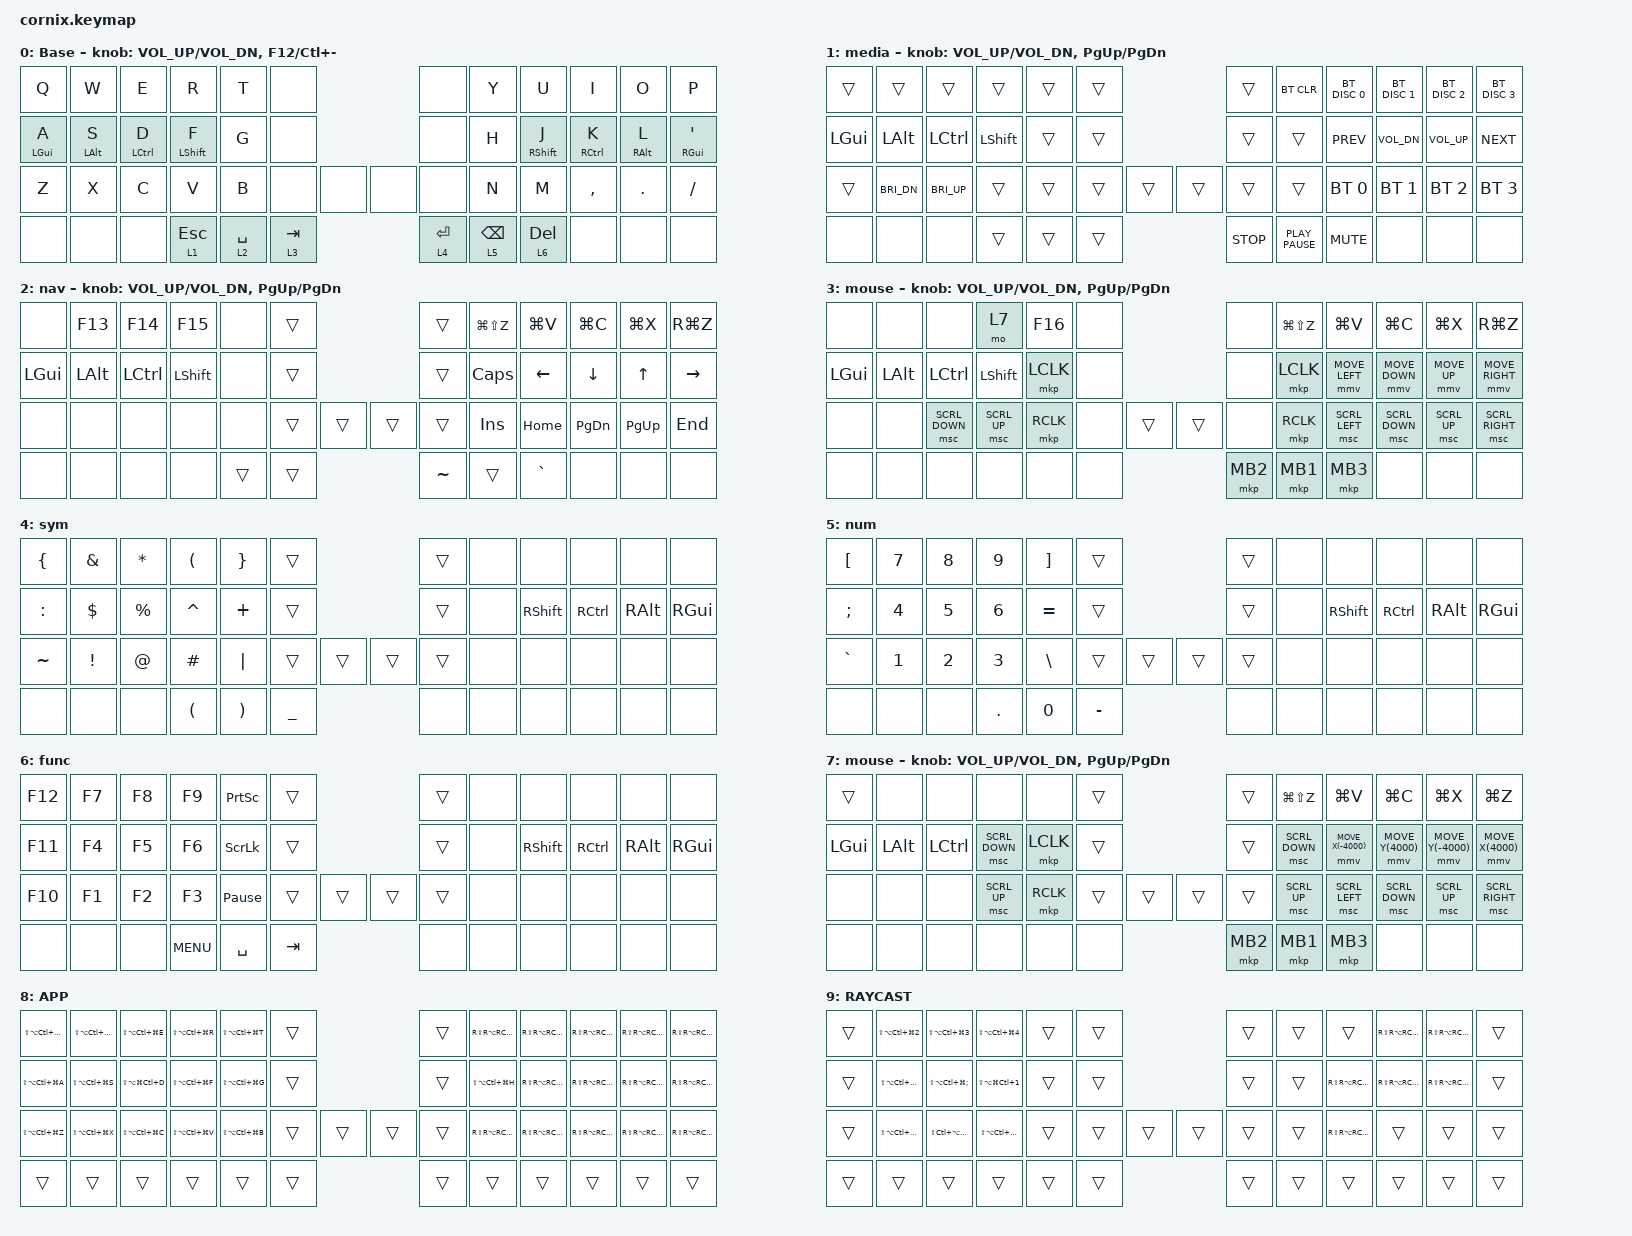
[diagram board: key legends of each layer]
/*
 * Copyright (c) 2020 The ZMK Contributors
 *
 * SPDX-License-Identifier: MIT
 */

#include "zmk-helpers/helper.h"
#include "includes/cornix54.h"

// tap windows for ctl alt and gui

#define HM_TAPPING_TERM 250
#define HM_TAPPING_REPEAT 210

// quick tapping for shift

#define HM_TAPPING_TERM_FAST 200
#define HM_PRIOR_IDLE 70
#define BASE 0
#define WIN 1
#define LOWER 2
#define RAISE 3
#define ADJUST 4
#define NAVI   5
#define NUM    6
#define DEBUG  7

// https://github.com/urob/zmk-config/tree/main#timeless-homerow-mods

#define KEYS_L LT0 LT1 LT2 LT3 LT4 LT5 LM0 LM1 LM2 LM3 LM4 LM5 LB0 LB1 LB2 LB3 LB4 LB5  // left hand
#define KEYS_R RT0 RT1 RT2 RT3 RT4 RT5 RM0 RM1 RM2 RM3 RM4 RM5 RB0 RB1 RB2 RB3 RB4 RB5  // right hand
#define THUMBS LH1 LH0 RH0 RH1
#define KEYS_T LH1 LH0 RH0 RH1
#define ZMK_POINTING_DEFAULT_SCRL_VAL 15

#include <behaviors.dtsi>
#include <dt-bindings/zmk/bt.h>
#include <dt-bindings/zmk/keys.h>
#include <dt-bindings/zmk/pointing.h>

/ {
    // Activate ADJUST layer by pressing raise and lower

    behaviors {
        hm_l: homerow_mods_left {
            compatible = "zmk,behavior-hold-tap";
            #binding-cells = <2>;
            bindings = <&kp>, <&kp>;

            flavor = "balanced";
            tapping-term-ms = <HM_TAPPING_TERM>;
            quick-tap-ms = <200>;                // repeat on tap-into-hold
            require-prior-idle-ms = <HM_PRIOR_IDLE>;
            hold-trigger-key-positions = <KEYS_R KEYS_T>;
            hold-trigger-on-release;
        };

        hm_r: homerow_mods_right {
            compatible = "zmk,behavior-hold-tap";
            #binding-cells = <2>;
            bindings = <&kp>, <&kp>;

            flavor = "balanced";
            tapping-term-ms = <HM_TAPPING_TERM>;
            quick-tap-ms = <200>;
            require-prior-idle-ms = <HM_PRIOR_IDLE>;
            hold-trigger-key-positions = <KEYS_L KEYS_T>;
            hold-trigger-on-release;
        };

        // Positional Homerow mods for shift
        // Use faster tapping term and disable some features that may
        // cause false negatives.

        hm_shift_l: hm_shift_l {
            compatible = "zmk,behavior-hold-tap";
            #binding-cells = <2>;
            bindings = <&kp>, <&kp>;

            //flavor = "balanced";

            flavor = "balanced";
            tapping-term-ms = <HM_TAPPING_TERM_FAST>;
            quick-tap-ms = <200>;
            require-prior-idle-ms = <HM_PRIOR_IDLE>;
            hold-trigger-key-positions = <KEYS_R KEYS_T>;
            hold-trigger-on-release;
        };

        hm_shift_r: hm_shift_r {
            compatible = "zmk,behavior-hold-tap";
            #binding-cells = <2>;
            bindings = <&kp>, <&kp>;

            flavor = "balanced";
            tapping-term-ms = <HM_TAPPING_TERM_FAST>;
            quick-tap-ms = <200>;
            require-prior-idle-ms = <HM_PRIOR_IDLE>;
            hold-trigger-key-positions = <KEYS_L KEYS_T>;

            // for quick tapping; shift+~

            hold-trigger-on-release;
        };

        /*
         * Non-Positional Homerow Mods
         * Used for &mm_grescm_gui behavior on left hand.
         *
         * Usage: &hm LSHFT T
         * Tap: T
         * Tap-Tap-Hold: Repeat T
         * Hold: LSHIFT
         */

        hm: homerow_mods {
            compatible = "zmk,behavior-hold-tap";
            #binding-cells = <2>;
            bindings = <&kp>, <&kp>;

            quick-tap-ms = <100>;
            global-quick-tap;
            flavor = "tap-preferred";
            tapping-term-ms = <170>;
            quick-tap-ms = <200>;
        };

        lt: layer_tap {
            compatible = "zmk,behavior-hold-tap";
            #binding-cells = <2>;
            bindings = <&mo>, <&kp>;

            flavor = "hold-preferred";
            tapping-term-ms = <HM_TAPPING_TERM>;
            quick-tap-ms = <200>;
        };
    };

    conditional_layers { compatible = "zmk,conditional-layers"; };

    combos {
        compatible = "zmk,combos";

        app {
            bindings = <&mo 8>;
            key-positions = <42 43>;
        };

        raycast {
            bindings = <&mo 9>;
            key-positions = <45 44>;
        };
    };

    keymap {
        compatible = "zmk,keymap";

        default_layer {
            display-name = "Base";

            // ------------------------------------------------------------------------------------------------------------
            // |   `   |  1  |  2  |  3   |  4   |  5   |                   |  6   |  7    |  8    |  9   |   0   |       |
            // |  ESC  |  Q  |  W  |  E   |  R   |  T   |                   |  Y   |  U    |  I    |  O   |   P   | BKSPC |
            // |  TAB  |  A  |  S  |  D   |  F   |  G   |                   |  H   |  J    |  K    |  L   |   ;   |   '   |
            // | SHIFT |  Z  |  X  |  C   |  V   |  B   |  MUTE  |  |       |  N   |  M    |  ,    |  .   |   /   | SHIFT |
            //               | GUI | ALT  | CTRL | LOWER|  ENTER |  | SPACE | RAISE| CTRL  | ALT   | GUI  |

            bindings = <
&kp Q             &kp W         &kp E          &kp R          &kp T        &none                    &none        &kp Y            &kp U          &kp I          &kp O         &kp P
&hm_l LEFT_GUI A  &hm_l LALT S  &hm_l LCTRL D  &hm_l LSHFT F  &kp G        &none                    &none        &kp H            &hm_r RSHFT J  &hm_r RCTRL K  &hm_r RALT L  &hm_r RGUI SQT
&kp Z             &kp X         &kp C          &kp V          &kp B        &none      &none  &none  &none        &kp N            &kp M          &kp COMMA      &kp PERIOD    &kp SLASH
&none             &none         &none          &lt 1 ESCAPE   &lt 2 SPACE  &lt 3 TAB                &lt 4 ENTER  &lt 5 BACKSPACE  &lt 6 DELETE   &none          &none         &none
            >;

            sensor-bindings =
                <&inc_dec_kp C_VOL_UP C_VOL_DN>,
                <&inc_dec_kp F12 LC(MINUS)>;
        };

        Media {
            display-name = "media";

            // ------------------------------------------------------------------------------------------------------------
            // |   `   |  1  |  2  |  3   |  4   |  5   |                   |  6   |  7    |  8    |  9   |   0   |       |
            // |  ESC  |  Q  |  W  |  E   |  R   |  T   |                   |  Y   |  U    |  I    |  O   |   P   | BKSPC |
            // |  TAB  |  A  |  S  |  D   |  F   |  G   |                   |  H   |  J    |  K    |  L   |   ;   |   '   |
            // | SHIFT |  Z  |  X  |  C   |  V   |  B   |  MUTE  |  |       |  N   |  M    |  ,    |  .   |   /   | SHIFT |
            //               | GUI | ALT  | CTRL | LOWER|  ENTER |  | SPACE | RAISE| CTRL  | ALT   | GUI  |

            bindings = <
&trans    &trans        &trans        &trans     &trans  &trans                  &trans      &bt BT_CLR        &bt BT_DISC 0  &bt BT_DISC 1  &bt BT_DISC 2  &bt BT_DISC 3
&kp LGUI  &kp LALT      &kp LCTRL     &kp LSHFT  &trans  &trans                  &trans      &trans            &kp K_PREV     &kp C_VOL_DN   &kp C_VOL_UP   &kp K_NEXT
&trans    &kp C_BRI_DN  &kp C_BRI_UP  &trans     &trans  &trans  &trans  &trans  &trans      &trans            &bt BT_SEL 0   &bt BT_SEL 1   &bt BT_SEL 2   &bt BT_SEL 3
&none     &none         &none         &trans     &trans  &trans                  &kp K_STOP  &kp K_PLAY_PAUSE  &kp K_MUTE     &none          &none          &none
            >;

            sensor-bindings = <&inc_dec_kp C_VOL_UP C_VOL_DN &inc_dec_kp PG_UP PG_DN>;
        };

        Nav {
            display-name = "nav";

            // TODO: Some binds are waiting for shifted keycode support.
            // -------------------------------
            // |       |  F1 |  F2 |  F3  |  F4  |  F5  |                   |  F6  |  F7   |  F8   |  F9  |  F10  |  F11  |
            // |   `   |  1  |  2  |  3   |  4   |  5   |                   |  6   |  7    |  8    |  9   |   0   |  F12  |
            // |       |  !  |  @  |  #   |  $   |  %   |                   |  ^   |  &    |  *    |  (   |   )   |   |   |
            // |       |  =  |  -  |  +   |  {   |  }   |        |  |       |  [   |  ]    |  ;    |  :   |   \   |       |
            //               |     |      |      |      |        |  |       |      |       |       |      |

            bindings = <
&none         &kp F13   &kp F14    &kp F15     &none   &trans                  &trans     &kp LG(LS(Z))  &kp LG(V)  &kp LG(C)      &kp LG(X)     &kp RG(Z)
&kp LEFT_GUI  &kp LALT  &kp LCTRL  &kp LSHIFT  &none   &trans                  &trans     &kp CAPS       &kp LEFT   &kp DOWN       &kp UP_ARROW  &kp RIGHT
&none         &none     &none      &none       &none   &trans  &trans  &trans  &trans     &kp INS        &kp HOME   &kp PAGE_DOWN  &kp PAGE_UP   &kp END
&none         &none     &none      &none       &trans  &trans                  &kp TILDE  &trans         &kp GRAVE  &none          &none         &none
            >;

            sensor-bindings = <&inc_dec_kp C_VOL_UP C_VOL_DN &inc_dec_kp PG_UP PG_DN>;
        };

        Mouse {
            display-name = "mouse";

            // ------------------------------------------------------------------------------------------------------------
            // | BTCLR | BT1  | BT2  |  BT3  |  BT4  |  BT5 |                |      |      |       |      |       |       |
            // |       | INS  | PSCR | GUI   |       |      |                | PGUP |      |   ^   |      |       |       |
            // |       | ALT  | CTRL | SHIFT |       | CAPS |                | PGDN |   <- |   v   |  ->  |  DEL  | BKSPC |
            // |       | UNDO | CUT  | COPY  | PASTE |      |      |  |      |      |      |       |      |       |       |
            //                |      |       |       |      |      |  |      |      |      |       |      |

            bindings = <
&none     &none     &none           &mo 7         &kp F16    &none                  &none     &kp LG(LS(Z))  &kp LG(V)       &kp LG(C)       &kp LG(X)     &kp RG(Z)
&kp LGUI  &kp LALT  &kp LCTRL       &kp LSHIFT    &mkp LCLK  &none                  &none     &mkp LCLK      &mmv MOVE_LEFT  &mmv MOVE_DOWN  &mmv MOVE_UP  &mmv MOVE_RIGHT
&none     &none     &msc SCRL_DOWN  &msc SCRL_UP  &mkp RCLK  &none  &trans  &trans  &none     &mkp RCLK      &msc SCRL_LEFT  &msc SCRL_DOWN  &msc SCRL_UP  &msc SCRL_RIGHT
&none     &none     &none           &none         &none      &none                  &mkp MB2  &mkp MB1       &mkp MB3        &none           &none         &none
            >;

            sensor-bindings = <&inc_dec_kp C_VOL_UP C_VOL_DN &inc_dec_kp PG_UP PG_DN>;
        };

        Symbol {
            display-name = "sym";

            // ----------------------------------------------------------------------------------------------------------------------------
            // | BTCLR  |  BT1    |  BT2    |   BT3   |   BT4   |   BT5   |                  |      |      |       |      |       |       |
            // | moDEBUG| RGB_HUD | RGB_HUI | RGB_SAD | RGB_SAI | RGB_EFF |                  |      |      |       |      |       |       |
            // | EXTPWR | RGB_BRD | RGB_BRI |         |         |         |                  |      |      |       |      |       |       |
            // |        |         |         |         |         |         | RGB_TOG | |      |      |      |       |      |       |       |
            //                    |         |         |         |         |         | |      |      |      |       |      |

            bindings = <
&kp LEFT_BRACE  &kp AMPERSAND    &kp ASTERISK  &kp LEFT_PARENTHESIS  &kp RIGHT_BRACE        &trans                          &trans  &none  &none       &none      &none     &none
&kp COLON       &kp DOLLAR       &kp PERCENT   &kp CARET             &kp PLUS               &trans                          &trans  &none  &kp RSHIFT  &kp RCTRL  &kp RALT  &kp RGUI
&kp TILDE       &kp EXCLAMATION  &kp AT_SIGN   &kp HASH              &kp PIPE               &trans          &trans  &trans  &trans  &none  &none       &none      &none     &none
&none           &none            &none         &kp LEFT_PARENTHESIS  &kp RIGHT_PARENTHESIS  &kp UNDERSCORE                  &none   &none  &none       &none      &none     &none
            >;
        };

        Number {
            display-name = "num";
            bindings = <
&kp LEFT_BRACKET  &kp N7        &kp N8        &kp N9        &kp RIGHT_BRACKET  &trans                     &trans  &none  &none       &none      &none     &none
&kp SEMICOLON     &kp NUMBER_4  &kp N5        &kp NUMBER_6  &kp EQUAL          &trans                     &trans  &none  &kp RSHIFT  &kp RCTRL  &kp RALT  &kp RGUI
&kp GRAVE         &kp NUMBER_1  &kp NUMBER_2  &kp NUMBER_3  &kp BACKSLASH      &trans     &trans  &trans  &trans  &none  &none       &none      &none     &none
&none             &none         &none         &kp PERIOD    &kp N0             &kp MINUS                  &none   &none  &none       &none      &none     &none
            >;
        };

        Function {
            display-name = "func";
            bindings = <
&kp F12  &kp F7  &kp F8  &kp F9      &kp PRINTSCREEN  &trans                   &trans  &none  &none       &none      &none     &none
&kp F11  &kp F4  &kp F5  &kp F6      &kp SCROLLLOCK   &trans                   &trans  &none  &kp RSHIFT  &kp RCTRL  &kp RALT  &kp RGUI
&kp F10  &kp F1  &kp F2  &kp F3      &kp PAUSE_BREAK  &trans   &trans  &trans  &trans  &none  &none       &none      &none     &none
&none    &none   &none   &kp K_MENU  &kp SPACE        &kp TAB                  &none   &none  &none       &none      &none     &none
            >;
        };

        mice {
            display-name = "mouse";
            bindings = <
&trans    &none     &none      &none           &none      &trans                  &trans    &kp LG(LS(Z))   &kp LG(V)           &kp LG(C)          &kp LG(X)           &kp LG(Z)
&kp LGUI  &kp LALT  &kp LCTRL  &msc SCRL_DOWN  &mkp LCLK  &trans                  &trans    &msc SCRL_DOWN  &mmv MOVE_X(-4000)  &mmv MOVE_Y(4000)  &mmv MOVE_Y(-4000)  &mmv MOVE_X(4000)
&none     &none     &none      &msc SCRL_UP    &mkp RCLK  &trans  &trans  &trans  &trans    &msc SCRL_UP    &msc SCRL_LEFT      &msc SCRL_DOWN     &msc SCRL_UP        &msc SCRL_RIGHT
&none     &none     &none      &none           &none      &none                   &mkp MB2  &mkp MB1        &mkp MB3            &none              &none               &none
            >;

            sensor-bindings =
                <&inc_dec_kp C_VOL_UP C_VOL_DN>,
                <&inc_dec_kp PG_UP PG_DN>;
        };

        APP {
            bindings = <
&kp LS(LA(LC(LG(Q))))  &kp LS(LA(LC(LG(W))))  &kp LS(LA(LC(LG(E))))  &kp LS(LA(LC(LG(R))))  &kp LS(LA(LC(LG(T))))  &trans                  &trans  &kp RS(RA(RC(RG(Y))))  &kp RS(RA(RC(RG(U))))  &kp RS(RA(RC(RG(I))))      &kp RS(RA(RC(RG(O))))       &kp RS(RA(RC(RG(P))))
&kp LS(LA(LC(LG(A))))  &kp LS(LA(LC(LG(S))))  &kp LS(LA(LG(LC(D))))  &kp LS(LA(LC(LG(F))))  &kp LS(LA(LC(LG(G))))  &trans                  &trans  &kp LS(LA(LC(LG(H))))  &kp RS(RA(RC(RG(J))))  &kp RS(RA(RC(RG(K))))      &kp RS(RA(RC(RG(L))))       &kp RS(RA(RC(RG(SQT))))
&kp LS(LA(LC(LG(Z))))  &kp LS(LA(LC(LG(X))))  &kp LS(LA(LC(LG(C))))  &kp LS(LA(LC(LG(V))))  &kp LS(LA(LC(LG(B))))  &trans  &trans  &trans  &trans  &kp RS(RA(RC(RG(N))))  &kp RS(RA(RC(RG(M))))  &kp RS(RA(RC(RG(COMMA))))  &kp RS(RA(RC(RG(PERIOD))))  &kp RS(RA(RC(RG(SLASH))))
&trans                 &trans                 &trans                 &trans                 &trans                 &trans                  &trans  &trans                 &trans                 &trans                     &trans                      &trans
            >;
        };

        RAYCAST {
            bindings = <
&trans  &kp LS(LA(LC(LG(NUMBER_2))))  &kp LS(LA(LC(LG(NUMBER_3))))   &kp LS(LA(LC(LG(NUMBER_4))))  &trans  &trans                  &trans  &trans  &trans                  &kp RS(RA(RC(RG(NUMBER_6))))  &kp RS(RA(RC(RG(N7))))  &trans
&trans  &kp LS(LA(LC(LG(F20))))       &kp LS(LA(LC(LG(SEMICOLON))))  &kp LS(LA(LG(LC(NUMBER_1))))  &trans  &trans                  &trans  &trans  &kp RS(RA(RC(RG(N8))))  &kp RS(RA(RC(RG(N9))))        &kp RS(RA(RC(RG(N0))))  &trans
&trans  &kp LS(LA(LC(LG(F17))))       &kp LS(LC(LA(LG(F18))))        &kp LS(LA(LC(LG(F19))))       &trans  &trans  &trans  &trans  &trans  &trans  &kp RS(RA(RC(RG(N5))))  &trans                        &trans                  &trans
&trans  &trans                        &trans                         &trans                        &trans  &trans                  &trans  &trans  &trans                  &trans                        &trans                  &trans
            >;
        };
    };
};
